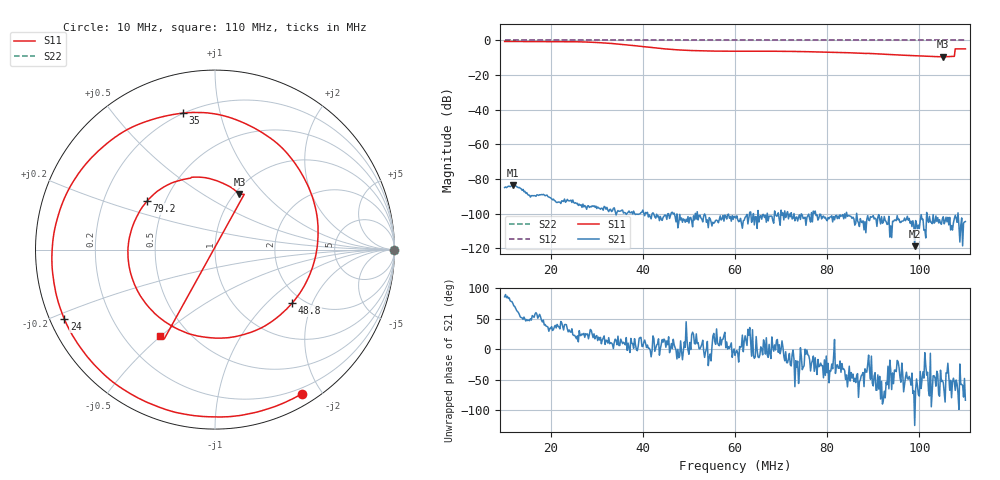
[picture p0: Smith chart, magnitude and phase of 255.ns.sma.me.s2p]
! Anritsu VNA Master:  Model: MS2036C/10/77
! SN:  1601066
! /card0/usr/255.ns.sma.me.s2p
! Existing Calibration Information:
! TYPE:  Current Settings,  Active Cal Settings
! TIME:  12/19/2017 07:08:58 PM,  12/19/2017 06:59:48 PM
! INTERNAL TEMP:  39.8 C,  39.3 C
! # POINTS:  501,  501
! START FREQ:  10.000 MHz,  10.000 MHz
! STOP FREQ:  110.000 MHz,  110.000 MHz
! SOURCE POWER:  High,  High
! IFBW:  100 Hz,  100 Hz
! AVG FACTOR:  1 ,  1
! REF PLANE 1:  0 mm,  0 mm
! REF PLANE 2:  0 mm,  0 mm
! CAL TYPE:  Full S11,  Full S11
! CAL METHOD:  SOLT,  SOLT
! CAL LINE TYPE:  Coax,  Coax
! DUT PORT 1:  N-Conn(F),  N-Conn(F)
! DUT PORT 2:  K-Conn(F),  K-Conn(F)
! CAL STATUS:  OK: Accuracy High,  --
# GHZ S DB R 50.0
! FREQ.GHZ  S11DB  S11A  S21DB  S21A  S12DB  S12A  S22DB  S22A
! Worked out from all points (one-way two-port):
!   501 points, 10 MHz to 110 MHz, reference 50 ohm
!   highest |S21| = -83.42 dB at 11.8 MHz (marker M1); lowest = -118.7 dB at 99 MHz (marker M2)
!   lowest |S11| = -9.4 dB at 105.2 MHz (marker M3), VSWR 2.02, Z = 52.5 + j36.8 ohm
!   |S11| at or under -10 dB: nowhere
!   |S22| runs from 0.0 to 0.0 dB; largest |S21 - S12| = 1
!   S11 on the Smith chart (normalised r, x): 10 MHz: 0.14, -1.76; 24 MHz: 0.04, -0.22; 35 MHz: 0.20, +0.77; 48.8 MHz: 1.76, -1.44; 79.2 MHz: 0.40, +0.28; 110 MHz: 0.35, -0.50
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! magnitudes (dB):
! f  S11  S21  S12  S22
! 10 MHz  -0.6  -84.8  0.0  0.0
! 11.8 MHz  -0.6  -83.4  0.0  0.0
! 24 MHz  -0.7  -92.6  0.0  0.0
! 26.8 MHz  -0.8  -96.3  0.0  0.0
! 30.6 MHz  -1.3  -96.8  0.0  0.0
! 35 MHz  -2.1  -98.5  0.0  0.0
! 43.4 MHz  -4.5  -101.2  0.0  0.0
! 46.2 MHz  -5.2  -99.3  0.0  0.0
! 48.8 MHz  -5.6  -103.0  0.0  0.0
! 53.4 MHz  -6.0  -100.1  0.0  0.0
! 60 MHz  -6.2  -101.8  0.0  0.0
! 70.4 MHz  -6.3  -99.5  0.0  0.0
! 76.8 MHz  -6.5  -104.7  0.0  0.0
! 79.2 MHz  -6.6  -101.3  0.0  0.0
! 89.2 MHz  -7.5  -103.9  0.0  0.0
! 93.4 MHz  -8.1  -101.4  0.0  0.0
! 99 MHz  -8.8  -118.7  0.0  0.0
! 103.6 MHz  -9.3  -101.2  0.0  0.0
! 105.2 MHz  -9.4  -101.7  0.0  0.0
! 107.2 MHz  -9.2  -109.4  0.0  0.0
! 108.2 MHz  -4.9  -104.9  0.0  0.0
! 110 MHz  -4.9  -104.5  0.0  0.0
